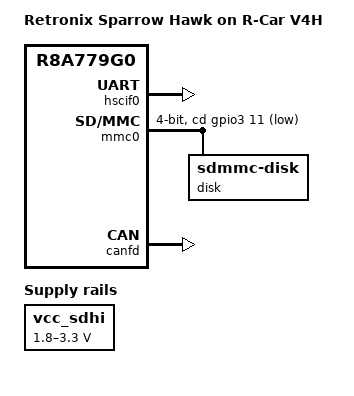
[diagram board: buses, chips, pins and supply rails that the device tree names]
/*
 * SPDX-FileCopyrightText: Copyright (c) 2025 Renesas Electronics Corporation
 * SPDX-FileCopyrightText: Copyright (c) 2026 TOKITA Hiroshi
 *
 * SPDX-License-Identifier: Apache-2.0
 */

/dts-v1/;
#include <mem.h>
#include <zephyr/dt-bindings/gpio/gpio.h>
#include <arm64/renesas/r8a779g0.dtsi>
#include "sparrowhawk_rcar_v4h_r8a779g0_a76-pinctrl.dtsi"

/ {
	model = "Retronix Sparrow Hawk on R-Car V4H";
	compatible = "retronix,sparrowhawk-v4h-ca76";

	chosen {
		zephyr,sram = &ram;
		zephyr,console = &hscif0;
		zephyr,shell-uart = &hscif0;
		zephyr,canbus = &canfd;
	};

	aliases {
		sdhc0 = &mmc0;
	};

	ram: memory@40000000 {
		device_type = "memory";
		reg = <0x0 0x40000000 0x0 DT_SIZE_G(2)>;
	};

	vcc_sdhi: regulator-vcc-sdhi {
		compatible = "regulator-gpio";
		regulator-name = "SD0_VCCQ";
		regulator-min-microvolt = <1800000>;
		regulator-max-microvolt = <3300000>;
		gpios = <&gpio8 13 GPIO_ACTIVE_HIGH>;
		states = <1800000 0>, <3300000 1>;
		regulator-boot-on;
		status = "okay";
	};
};

/* USB serial */
&hscif0 {
	pinctrl-0 = <&hscif0_data_tx_default &hscif0_data_rx_default>;
	pinctrl-names = "default";
	status = "okay";
};

&gpio3 {
	//pinctrl-0 = <&sd_cd>;
	//pinctrl-names = "default";
	status = "okay";
};

&gpio8 {
	//pinctrl-0 = <&sd_vqmmc>;
	//pinctrl-names = "default";
	status = "okay";
};

&mmc0 {
	pinctrl-0 = <&mmc_clk &mmc_cmd &mmc_data0 &mmc_data1 &mmc_data2 &mmc_data3>;
	pinctrl-1 = <&mmc_uhs_clk &mmc_uhs_cmd &mmc_uhs_data0 &mmc_uhs_data1
		     &mmc_uhs_data2 &mmc_uhs_data3>;
	pinctrl-names = "default", "uhs";

	bus-width = <4>;
	mmc-sdr104-support;
	cd-gpios = <&gpio3 11 GPIO_ACTIVE_LOW>;
	vqmmc-supply = <&vcc_sdhi>;
	status = "okay";

	disk {
		compatible = "zephyr,sdmmc-disk";
		disk-name = "SD";
		status = "okay";
	};
};

&can_clk {
	clock-frequency = <40000000>;
};

&canfd {
	pinctrl-0 = <&canfd3_data_a_tx_default &canfd3_data_a_rx_default
		     &canfd4_data_a_tx_default &canfd4_data_a_rx_default
                     &can_clk_pin>;
	pinctrl-names = "default";
	status = "okay";

clocks = <&cpg CPG_MOD 328>,              /* fck: module clock */
         <&cpg CPG_CORE R8A779G0_CLK_CANFD>, /* canfdφ (clkc) */
         <&can_clk>,                      /* CAN_CLK external */
         <&cpg CPG_CORE R8A779G0_CLK_SASYNCPERD1>, /* clk_ram */
         <&cpg CPG_CORE R8A779G0_CLK_SASYNCPERD2>; /* pclk */
clock-names = "fck", "canfd", "can_clk", "clk_ram", "pclk";

	channel3 {
		status = "okay";
	};

	channel4 {
		status = "okay";
	};
};
